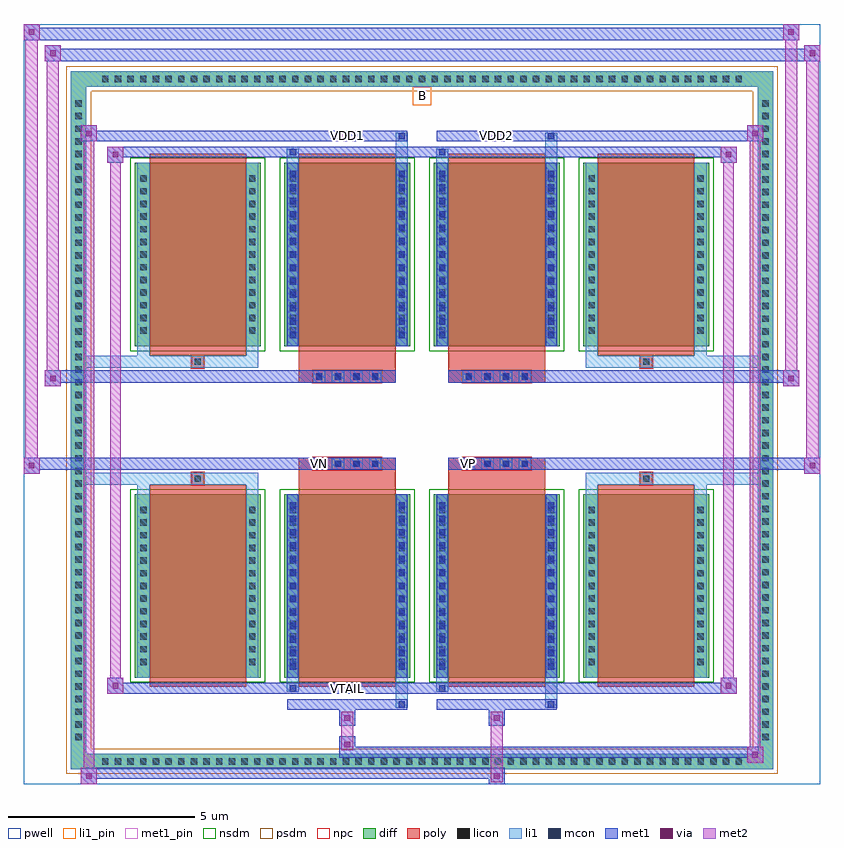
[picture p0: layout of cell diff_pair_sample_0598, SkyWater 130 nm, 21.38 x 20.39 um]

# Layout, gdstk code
import gdstk
lib = gdstk.Library(unit=1e-6, precision=5e-09)
def R(c, l, rs):  # rectangles x0, y0, x1, y1
    for r in rs: c.add(gdstk.rectangle(r[:2], r[2:], *l))
def A(c, l, x, y, w, h, nx, ny, dx, dy):  # array of equal rectangles
    R(c, l, [(x+i*dx, y+j*dy, x+i*dx+w, y+j*dy+h) for i in range(nx) for j in range(ny)])
def P(c, l, *ps):  # polygons
    for p in ps: c.add(gdstk.Polygon(p, *l))
pwell = (64, 44)
diff = (65, 20)
poly = (66, 20)
licon = (66, 44)
li1_pin = (67, 16)
li1 = (67, 20)
mcon = (67, 44)
met1_pin = (68, 16)
met1 = (68, 20)
via = (68, 44)
met2 = (69, 20)
nsdm = (93, 44)
psdm = (94, 20)
npc = (95, 20)

diff_pair_sample_0598 = lib.new_cell('diff_pair_sample_0598')
R(diff_pair_sample_0598, pwell, [(-10.69,-9.76,10.69,10.63), (-8.01,-7.95,-0.01,-0.805), (0.01,-7.95,8.01,-0.805), (-8.01,0.805,-0.01,7.95), (0.01,0.805,8.01,7.95)])
A(diff_pair_sample_0598, diff, -8.705, -9.36, 0.41, 0.41, 51, 2, 0.34, 18.31)
A(diff_pair_sample_0598, diff, -9.42, -8.705, 0.41, 0.41, 1, 51, 0, 0.34)
A(diff_pair_sample_0598, diff, 9.01, -8.705, 0.41, 0.41, 1, 51, 0, 0.34)
A(diff_pair_sample_0598, diff, -7.7, -6.905, 3.37, 4.92, 4, 2, 4.01, 8.89)
R(diff_pair_sample_0598, diff, [(-8.705,-9.36,8.705,-8.95), (-9.42,-8.705,-9.01,8.705), (9.01,-8.705,9.42,8.705), (-8.705,8.95,8.705,9.36)])
P(diff_pair_sample_0598, diff, [(9.42,9.36),(-9.42,9.36),(-9.42,-8.95),(-9.01,-8.95),(-9.01,8.95),(9.01,8.95),(9.01,-8.95),(-9.01,-8.95),(-9.42,-8.95),(-9.42,-9.36),(9.42,-9.36)])
A(diff_pair_sample_0598, poly, -7.31, -7.155, 2.59, 5.42, 4, 2, 4.01, 8.89)
A(diff_pair_sample_0598, poly, -2.92, -1.335, 0.33, 0.33, 4, 2, 0.5, 2.34)
A(diff_pair_sample_0598, poly, 1.09, -1.335, 0.33, 0.33, 4, 2, 0.5, 2.34)
R(diff_pair_sample_0598, poly, [(-6.18,-1.735,-5.85,-1.405), (-6.18,-1.735,-5.85,-1.405), (-3.3,-1.735,-0.71,-1.335), (0.71,-1.735,3.3,-1.335), (5.85,-1.735,6.18,-1.405), (5.85,-1.735,6.18,-1.405), (-3.3,-1.335,-0.71,-1.005), (0.71,-1.335,3.3,-1.005), (-3.3,1.005,-0.71,1.335), (0.71,1.005,3.3,1.335), (-3.3,1.335,-0.71,1.735), (0.71,1.335,3.3,1.735), (-6.18,1.405,-5.85,1.735), (-6.18,1.405,-5.85,1.735), (5.85,1.405,6.18,1.735), (5.85,1.405,6.18,1.735)])
A(diff_pair_sample_0598, licon, -8.585, -9.24, 0.17, 0.17, 51, 2, 0.34, 18.31)
A(diff_pair_sample_0598, licon, -9.3, -8.585, 0.17, 0.17, 1, 51, 0, 0.34)
A(diff_pair_sample_0598, licon, 9.13, -8.585, 0.17, 0.17, 1, 51, 0, 0.34)
A(diff_pair_sample_0598, licon, -7.56, -6.57, 0.17, 0.17, 1, 13, 0, 0.34)
A(diff_pair_sample_0598, licon, -4.64, -6.57, 0.17, 0.17, 1, 13, 0, 0.34)
A(diff_pair_sample_0598, licon, -3.55, -6.57, 0.17, 0.17, 1, 13, 0, 0.34)
A(diff_pair_sample_0598, licon, -0.63, -6.57, 0.17, 0.17, 1, 13, 0, 0.34)
A(diff_pair_sample_0598, licon, 0.46, -6.57, 0.17, 0.17, 1, 13, 0, 0.34)
A(diff_pair_sample_0598, licon, 3.38, -6.57, 0.17, 0.17, 1, 13, 0, 0.34)
A(diff_pair_sample_0598, licon, 4.47, -6.57, 0.17, 0.17, 1, 13, 0, 0.34)
A(diff_pair_sample_0598, licon, 7.39, -6.57, 0.17, 0.17, 1, 13, 0, 0.34)
A(diff_pair_sample_0598, licon, -2.84, -1.255, 0.17, 0.17, 4, 2, 0.5, 2.34)
A(diff_pair_sample_0598, licon, 1.17, -1.255, 0.17, 0.17, 4, 2, 0.5, 2.34)
A(diff_pair_sample_0598, licon, -7.56, 2.32, 0.17, 0.17, 1, 13, 0, 0.34)
A(diff_pair_sample_0598, licon, -4.64, 2.32, 0.17, 0.17, 1, 13, 0, 0.34)
A(diff_pair_sample_0598, licon, -3.55, 2.32, 0.17, 0.17, 1, 13, 0, 0.34)
A(diff_pair_sample_0598, licon, -0.63, 2.32, 0.17, 0.17, 1, 13, 0, 0.34)
A(diff_pair_sample_0598, licon, 0.46, 2.32, 0.17, 0.17, 1, 13, 0, 0.34)
A(diff_pair_sample_0598, licon, 3.38, 2.32, 0.17, 0.17, 1, 13, 0, 0.34)
A(diff_pair_sample_0598, licon, 4.47, 2.32, 0.17, 0.17, 1, 13, 0, 0.34)
A(diff_pair_sample_0598, licon, 7.39, 2.32, 0.17, 0.17, 1, 13, 0, 0.34)
R(diff_pair_sample_0598, licon, [(-6.1,-1.655,-5.93,-1.485), (5.93,-1.655,6.1,-1.485), (-6.1,1.485,-5.93,1.655), (5.93,1.485,6.1,1.655)])
R(diff_pair_sample_0598, li1_pin, [(-0.25,8.45,0.25,8.95)])
A(diff_pair_sample_0598, li1, -8.665, -9.32, 0.33, 0.33, 51, 2, 0.34, 18.31)
A(diff_pair_sample_0598, li1, -9.38, -8.665, 0.33, 0.33, 1, 51, 0, 0.34)
A(diff_pair_sample_0598, li1, 9.05, -8.665, 0.33, 0.33, 1, 51, 0, 0.34)
A(diff_pair_sample_0598, li1, -3.55, -6.69, 0.17, 0.17, 1, 13, 0, 0.36)
A(diff_pair_sample_0598, li1, -0.63, -6.69, 0.17, 0.17, 1, 13, 0, 0.36)
A(diff_pair_sample_0598, li1, 0.46, -6.69, 0.17, 0.17, 1, 13, 0, 0.36)
A(diff_pair_sample_0598, li1, 3.38, -6.69, 0.17, 0.17, 1, 13, 0, 0.36)
A(diff_pair_sample_0598, li1, -7.64, -6.65, 0.33, 0.33, 1, 13, 0, 0.34)
A(diff_pair_sample_0598, li1, -4.72, -6.65, 0.33, 0.33, 1, 13, 0, 0.34)
A(diff_pair_sample_0598, li1, -3.63, -6.65, 0.33, 0.33, 1, 13, 0, 0.34)
A(diff_pair_sample_0598, li1, -0.71, -6.65, 0.33, 0.33, 1, 13, 0, 0.34)
A(diff_pair_sample_0598, li1, 0.38, -6.65, 0.33, 0.33, 1, 13, 0, 0.34)
A(diff_pair_sample_0598, li1, 3.3, -6.65, 0.33, 0.33, 1, 13, 0, 0.34)
A(diff_pair_sample_0598, li1, 4.39, -6.65, 0.33, 0.33, 1, 13, 0, 0.34)
A(diff_pair_sample_0598, li1, 7.31, -6.65, 0.33, 0.33, 1, 13, 0, 0.34)
A(diff_pair_sample_0598, li1, -2.92, -1.335, 0.33, 0.33, 4, 2, 0.5, 2.34)
A(diff_pair_sample_0598, li1, 1.09, -1.335, 0.33, 0.33, 4, 2, 0.5, 2.34)
A(diff_pair_sample_0598, li1, -3.55, 2.2, 0.17, 0.17, 1, 13, 0, 0.36)
A(diff_pair_sample_0598, li1, -0.63, 2.2, 0.17, 0.17, 1, 13, 0, 0.36)
A(diff_pair_sample_0598, li1, 0.46, 2.2, 0.17, 0.17, 1, 13, 0, 0.36)
A(diff_pair_sample_0598, li1, 3.38, 2.2, 0.17, 0.17, 1, 13, 0, 0.36)
A(diff_pair_sample_0598, li1, -7.64, 2.24, 0.33, 0.33, 1, 13, 0, 0.34)
A(diff_pair_sample_0598, li1, -4.72, 2.24, 0.33, 0.33, 1, 13, 0, 0.34)
A(diff_pair_sample_0598, li1, -3.63, 2.24, 0.33, 0.33, 1, 13, 0, 0.34)
A(diff_pair_sample_0598, li1, -0.71, 2.24, 0.33, 0.33, 1, 13, 0, 0.34)
A(diff_pair_sample_0598, li1, 0.38, 2.24, 0.33, 0.33, 1, 13, 0, 0.34)
A(diff_pair_sample_0598, li1, 3.3, 2.24, 0.33, 0.33, 1, 13, 0, 0.34)
A(diff_pair_sample_0598, li1, 4.39, 2.24, 0.33, 0.33, 1, 13, 0, 0.34)
A(diff_pair_sample_0598, li1, 7.31, 2.24, 0.33, 0.33, 1, 13, 0, 0.34)
R(diff_pair_sample_0598, li1, [(-9.42,-9.36,-9.01,-8.95), (-9.42,-9.36,-9.01,-8.95), (-9.01,-9.36,9.01,-8.95), (9.01,-9.36,9.42,-8.95), (9.01,-9.36,9.42,-8.95), (-9.42,-8.95,-9.01,8.95), (9.01,-8.95,9.42,8.95), (-0.71,-7.71,-0.38,-6.905), (-0.63,-7.71,-0.46,-7.54), (3.3,-7.71,3.63,-6.905), (3.38,-7.71,3.55,-7.54), (-3.63,-7.28,-3.3,-6.905), (-3.55,-7.28,-3.38,-7.11), (0.38,-7.28,0.71,-6.905), (0.46,-7.28,0.63,-7.11), (-7.64,-6.905,-7.31,-1.985), (-4.72,-6.905,-4.39,-1.985), (-3.63,-6.905,-3.3,-1.985), (-0.71,-6.905,-0.38,-1.985), (0.38,-6.905,0.71,-1.985), (3.3,-6.905,3.63,-1.985), (4.39,-6.905,4.72,-1.985), (7.31,-6.905,7.64,-1.985), (-3.55,-6.69,-3.38,-2.2), (-0.63,-6.69,-0.46,-2.2), (0.46,-6.69,0.63,-2.2), (3.38,-6.69,3.55,-2.2), (-7.64,-1.985,-7.31,-1.405), (-4.72,-1.985,-4.39,-1.405), (4.39,-1.985,4.72,-1.405), (7.31,-1.985,7.64,-1.405), (-9.42,-1.735,-6.18,-1.405), (-7.64,-1.735,-6.18,-1.405), (-6.18,-1.735,-5.85,-1.405), (-5.85,-1.735,-4.39,-1.405), (4.39,-1.735,5.85,-1.405), (5.85,-1.735,6.18,-1.405), (5.85,-1.735,9.42,-1.405), (6.18,-1.735,7.64,-1.405), (-9.42,1.405,-6.18,1.735), (-7.64,1.405,-6.18,1.735), (-7.64,1.405,-7.31,1.985), (-6.18,1.405,-5.85,1.735), (-5.85,1.405,-4.39,1.735), (-4.72,1.405,-4.39,1.985), (4.39,1.405,5.85,1.735), (4.39,1.405,4.72,1.985), (5.85,1.405,6.18,1.735), (5.85,1.405,9.42,1.735), (6.18,1.405,7.64,1.735), (7.31,1.405,7.64,1.985), (-7.64,1.985,-7.31,6.905), (-4.72,1.985,-4.39,6.905), (-3.63,1.985,-3.3,6.905), (-0.71,1.985,-0.38,6.905), (0.38,1.985,0.71,6.905), (3.3,1.985,3.63,6.905), (4.39,1.985,4.72,6.905), (7.31,1.985,7.64,6.905), (-3.55,2.2,-3.38,6.69), (-0.63,2.2,-0.46,6.69), (0.46,2.2,0.63,6.69), (3.38,2.2,3.55,6.69), (-3.63,6.905,-3.3,7.28), (-0.71,6.905,-0.38,7.71), (0.38,6.905,0.71,7.28), (3.3,6.905,3.63,7.71), (-3.55,7.11,-3.38,7.28), (0.46,7.11,0.63,7.28), (-0.63,7.54,-0.46,7.71), (3.38,7.54,3.55,7.71), (-9.42,8.95,-9.01,9.36), (-9.42,8.95,-9.01,9.36), (-9.01,8.95,9.01,9.36), (9.01,8.95,9.42,9.36), (9.01,8.95,9.42,9.36)])
A(diff_pair_sample_0598, mcon, -3.55, -6.69, 0.17, 0.17, 1, 13, 0, 0.36)
A(diff_pair_sample_0598, mcon, -0.63, -6.69, 0.17, 0.17, 1, 13, 0, 0.36)
A(diff_pair_sample_0598, mcon, 0.46, -6.69, 0.17, 0.17, 1, 13, 0, 0.36)
A(diff_pair_sample_0598, mcon, 3.38, -6.69, 0.17, 0.17, 1, 13, 0, 0.36)
A(diff_pair_sample_0598, mcon, -2.84, -1.255, 0.17, 0.17, 4, 2, 0.5, 2.34)
A(diff_pair_sample_0598, mcon, 1.17, -1.255, 0.17, 0.17, 4, 2, 0.5, 2.34)
A(diff_pair_sample_0598, mcon, -3.55, 2.2, 0.17, 0.17, 1, 13, 0, 0.36)
A(diff_pair_sample_0598, mcon, -0.63, 2.2, 0.17, 0.17, 1, 13, 0, 0.36)
A(diff_pair_sample_0598, mcon, 0.46, 2.2, 0.17, 0.17, 1, 13, 0, 0.36)
A(diff_pair_sample_0598, mcon, 3.38, 2.2, 0.17, 0.17, 1, 13, 0, 0.36)
R(diff_pair_sample_0598, mcon, [(-0.63,-7.71,-0.46,-7.54), (3.38,-7.71,3.55,-7.54), (-3.55,-7.28,-3.38,-7.11), (0.46,-7.28,0.63,-7.11), (-3.55,7.11,-3.38,7.28), (0.46,7.11,0.63,7.28), (-0.63,7.54,-0.46,7.71), (3.38,7.54,3.55,7.71)])
R(diff_pair_sample_0598, met1_pin, [(-2.14,-7.32,-1.87,-7.05), (-2.89,-1.295,-2.62,-1.025), (1.12,-1.295,1.39,-1.025), (-2.14,7.5,-1.87,7.77), (1.87,7.5,2.14,7.77)])
A(diff_pair_sample_0598, met1, -3.61, -6.75, 0.29, 0.29, 1, 13, 0, 0.36)
A(diff_pair_sample_0598, met1, -0.69, -6.75, 0.29, 0.29, 1, 13, 0, 0.36)
A(diff_pair_sample_0598, met1, 0.4, -6.75, 0.29, 0.29, 1, 13, 0, 0.36)
A(diff_pair_sample_0598, met1, 3.32, -6.75, 0.29, 0.29, 1, 13, 0, 0.36)
A(diff_pair_sample_0598, met1, -2.9, -1.315, 0.29, 0.29, 4, 2, 0.5, 2.34)
A(diff_pair_sample_0598, met1, 1.11, -1.315, 0.29, 0.29, 4, 2, 0.5, 2.34)
A(diff_pair_sample_0598, met1, -3.61, 2.14, 0.29, 0.29, 1, 13, 0, 0.36)
A(diff_pair_sample_0598, met1, -0.69, 2.14, 0.29, 0.29, 1, 13, 0, 0.36)
A(diff_pair_sample_0598, met1, 0.4, 2.14, 0.29, 0.29, 1, 13, 0, 0.36)
A(diff_pair_sample_0598, met1, 3.32, 2.14, 0.29, 0.29, 1, 13, 0, 0.36)
R(diff_pair_sample_0598, met1, [(-9.15,-9.76,-8.72,-9.33), (1.79,-9.76,2.22,-9.33), (-9.15,-9.62,2.22,-9.33), (8.72,-9.19,9.15,-8.76), (-2.22,-9.05,9.15,-8.76), (-2.22,-8.91,-1.79,-8.48), (-2.22,-8.2,-1.79,-7.77), (1.79,-8.2,2.22,-7.77), (-3.61,-7.77,-0.4,-7.48), (-0.69,-7.77,-0.4,-7.48), (0.4,-7.77,3.61,-7.48), (3.32,-7.77,3.61,-7.48), (-8.44,-7.34,-8.01,-6.91), (-8.44,-7.34,-3.61,-7.05), (-3.61,-7.34,-3.32,-7.05), (-3.61,-7.34,-0.4,-7.05), (-0.4,-7.34,0.4,-7.05), (0.4,-7.34,0.69,-7.05), (0.4,-7.34,3.61,-7.05), (3.61,-7.34,8.44,-7.05), (8.01,-7.34,8.44,-6.91), (-3.61,-6.905,-3.32,-1.985), (-0.69,-6.905,-0.4,-1.985), (0.4,-6.905,0.69,-1.985), (3.32,-6.905,3.61,-1.985), (-10.69,-1.435,-10.26,-1.005), (10.26,-1.435,10.69,-1.005), (-10.69,-1.335,-0.71,-1.005), (-3.3,-1.335,-0.71,-1.005), (0.71,-1.335,3.3,-1.005), (0.71,-1.335,10.69,-1.005), (-10.12,0.905,-9.69,1.335), (9.69,0.905,10.12,1.335), (-10.12,1.005,-3.3,1.335), (-3.3,1.005,-0.71,1.335), (0.71,1.005,3.3,1.335), (3.3,1.005,10.12,1.335), (-3.61,1.985,-3.32,6.905), (-0.69,1.985,-0.4,6.905), (0.4,1.985,0.69,6.905), (3.32,1.985,3.61,6.905), (-8.44,6.91,-8.01,7.34), (8.01,6.91,8.44,7.34), (-8.44,7.05,-3.61,7.34), (-3.61,7.05,-3.32,7.34), (-3.61,7.05,-0.4,7.34), (-0.4,7.05,0.4,7.34), (0.4,7.05,0.69,7.34), (0.4,7.05,3.61,7.34), (3.61,7.05,8.44,7.34), (-9.15,7.48,-8.72,7.91), (-9.15,7.48,-3.61,7.77), (-3.61,7.48,-0.4,7.77), (-0.69,7.48,-0.4,7.77), (0.4,7.48,3.61,7.77), (3.32,7.48,3.61,7.77), (3.61,7.48,9.15,7.77), (8.72,7.48,9.15,7.91), (-10.12,9.63,-9.69,10.06), (-10.12,9.63,-8.01,9.96), (-8.01,9.63,8.01,9.96), (8.01,9.63,10.69,9.96), (10.26,9.63,10.69,10.06), (-10.69,10.2,-10.26,10.63), (-10.69,10.2,-8.01,10.53), (-8.01,10.2,8.01,10.53), (8.01,10.2,10.12,10.53), (9.69,10.2,10.12,10.63)])
R(diff_pair_sample_0598, via, [(-9.01,-9.62,-8.86,-9.47), (1.93,-9.62,2.08,-9.47), (8.86,-9.05,9.01,-8.9), (-2.08,-8.77,-1.93,-8.62), (-2.08,-8.06,-1.93,-7.91), (1.93,-8.06,2.08,-7.91), (-8.3,-7.2,-8.15,-7.05), (8.15,-7.2,8.3,-7.05), (-10.55,-1.295,-10.4,-1.145), (10.4,-1.295,10.55,-1.145), (-9.98,1.045,-9.83,1.195), (9.83,1.045,9.98,1.195), (-8.3,7.05,-8.15,7.2), (8.15,7.05,8.3,7.2), (-9.01,7.62,-8.86,7.77), (8.86,7.62,9.01,7.77), (-9.98,9.77,-9.83,9.92), (10.4,9.77,10.55,9.92), (-10.55,10.34,-10.4,10.49), (9.83,10.34,9.98,10.49)])
R(diff_pair_sample_0598, met2, [(-9.15,-9.76,-8.72,-9.33), (-9.08,-9.76,-8.79,7.91), (-8.79,-9.76,-8.72,-9.33), (-9.1,-9.71,-8.77,-9.38), (1.84,-9.71,2.17,-9.38), (1.84,-9.38,2.17,-8.15), (8.72,-9.19,9.15,-8.76), (8.79,-9.19,9.08,7.91), (9.08,-9.19,9.15,-8.76), (8.77,-9.14,9.1,-8.81), (-2.17,-8.86,-1.84,-8.53), (-2.17,-8.53,-1.84,-8.15), (-2.17,-8.15,-1.84,-7.82), (1.84,-8.15,2.17,-7.82), (-8.44,-7.34,-8.01,-6.91), (-8.37,-7.34,-8.08,7.34), (-8.08,-7.34,-8.01,-6.91), (8.01,-7.34,8.44,-6.91), (8.08,-7.34,8.37,7.34), (8.37,-7.34,8.44,-6.91), (-8.39,-7.29,-8.06,-6.96), (8.06,-7.29,8.39,-6.96), (-10.69,-1.435,-10.26,-1.005), (-10.64,-1.435,-10.31,10.63), (-10.31,-1.435,-10.26,-1.005), (10.26,-1.435,10.69,-1.005), (10.31,-1.435,10.64,10.06), (10.64,-1.435,10.69,-1.005), (-10.64,-1.385,-10.31,-1.055), (10.31,-1.385,10.64,-1.055), (-10.12,0.905,-9.69,1.335), (-10.07,0.905,-9.74,10.06), (-9.74,0.905,-9.69,1.335), (9.69,0.905,10.12,1.335), (9.74,0.905,10.07,10.63), (10.07,0.905,10.12,1.335), (-10.07,0.955,-9.74,1.285), (9.74,0.955,10.07,1.285), (-8.44,6.91,-8.01,7.34), (-8.08,6.91,-8.01,7.34), (8.01,6.91,8.44,7.34), (8.37,6.91,8.44,7.34), (-8.39,6.96,-8.06,7.29), (8.06,6.96,8.39,7.29), (-9.15,7.48,-8.72,7.91), (-8.79,7.48,-8.72,7.91), (8.72,7.48,9.15,7.91), (9.08,7.48,9.15,7.91), (-9.1,7.53,-8.77,7.86), (8.77,7.53,9.1,7.86), (-10.12,9.63,-9.69,10.06), (-9.74,9.63,-9.69,10.06), (10.26,9.63,10.69,10.06), (10.64,9.63,10.69,10.06), (-10.07,9.68,-9.74,10.01), (10.31,9.68,10.64,10.01), (-10.69,10.2,-10.26,10.63), (-10.31,10.2,-10.26,10.63), (9.69,10.2,10.12,10.63), (10.07,10.2,10.12,10.63), (-10.64,10.25,-10.31,10.58), (9.74,10.25,10.07,10.58)])
A(diff_pair_sample_0598, nsdm, -7.83, -7.035, 3.63, 5.18, 4, 2, 4.01, 8.89)
P(diff_pair_sample_0598, psdm, [(9.55,9.49),(-9.55,9.49),(-9.55,-8.82),(-8.88,-8.82),(-8.88,8.82),(8.88,8.82),(8.88,-8.82),(-8.88,-8.82),(-9.55,-8.82),(-9.55,-9.49),(9.55,-9.49)])
A(diff_pair_sample_0598, npc, -2.94, -1.355, 0.37, 0.37, 4, 2, 0.5, 2.34)
A(diff_pair_sample_0598, npc, 1.07, -1.355, 0.37, 0.37, 4, 2, 0.5, 2.34)
R(diff_pair_sample_0598, npc, [(-6.2,-1.755,-5.83,-1.385), (5.83,-1.755,6.2,-1.385), (-2.94,-1.355,-2.07,-0.985), (-2.94,-1.355,-2.07,-0.985), (-2.44,-1.355,-1.57,-0.985), (-2.44,-1.355,-1.57,-0.985), (-1.94,-1.355,-1.07,-0.985), (-1.94,-1.355,-1.07,-0.985), (1.07,-1.355,1.94,-0.985), (1.07,-1.355,1.94,-0.985), (1.57,-1.355,2.44,-0.985), (1.57,-1.355,2.44,-0.985), (2.07,-1.355,2.94,-0.985), (2.07,-1.355,2.94,-0.985), (-2.94,0.985,-2.07,1.355), (-2.94,0.985,-2.07,1.355), (-2.44,0.985,-1.57,1.355), (-2.44,0.985,-1.57,1.355), (-1.94,0.985,-1.07,1.355), (-1.94,0.985,-1.07,1.355), (1.07,0.985,1.94,1.355), (1.07,0.985,1.94,1.355), (1.57,0.985,2.44,1.355), (1.57,0.985,2.44,1.355), (2.07,0.985,2.94,1.355), (2.07,0.985,2.94,1.355), (-6.2,1.385,-5.83,1.755), (5.83,1.385,6.2,1.755)])
diff_pair_sample_0598.add(gdstk.Label('VTAIL', (-2.005,-7.185), layer=68, texttype=5))
diff_pair_sample_0598.add(gdstk.Label('VN', (-2.755,-1.16), layer=68, texttype=5))
diff_pair_sample_0598.add(gdstk.Label('VP', (1.255,-1.16), layer=68, texttype=5))
diff_pair_sample_0598.add(gdstk.Label('B', (0,8.7), layer=67, texttype=5))
diff_pair_sample_0598.add(gdstk.Label('VDD2', (2.005,7.635), layer=68, texttype=5))
diff_pair_sample_0598.add(gdstk.Label('VDD1', (-2.005,7.635), layer=68, texttype=5))

lib.write_gds('diff_pair_sample_0598.gds')
